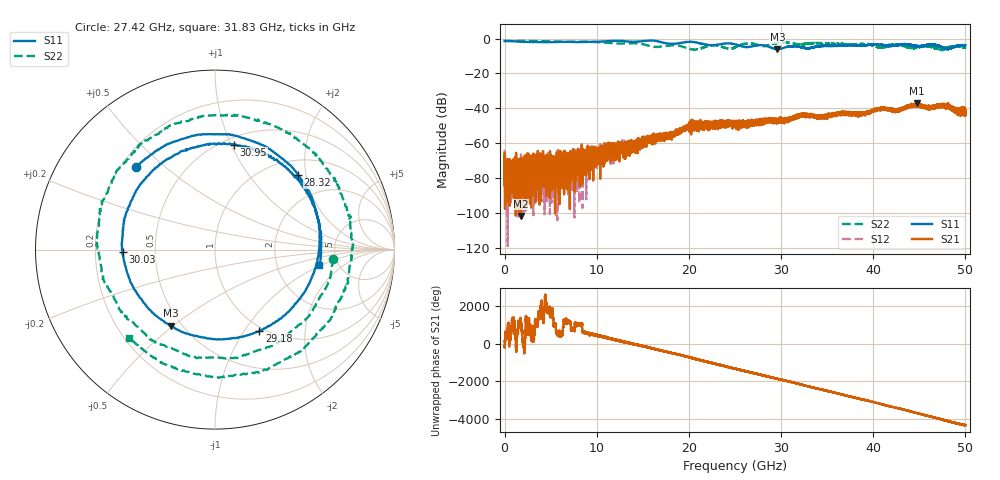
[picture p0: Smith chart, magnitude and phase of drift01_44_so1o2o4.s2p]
!Created with skrf (http://scikit-rf.org).
# Hz S RI R 50.0
!freq ReS11 ImS11 ReS21 ImS21 ReS12 ImS12 ReS22 ImS22
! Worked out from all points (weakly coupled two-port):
!   10001 points, 300 kHz to 50 GHz, reference 50 ohm
!   highest |S21| = -36.96 dB at 44.72 GHz (marker M1); lowest = -101.7 dB at 1.77 GHz (marker M2)
!   lowest |S11| = -6.2 dB at 29.6 GHz (marker M3), VSWR 2.92, Z = 22 - j24.5 ohm
!   |S11| at or under -10 dB: nowhere
!   |S22| runs from -6.7 to -1.4 dB; largest |S21 - S12| = 0.0038
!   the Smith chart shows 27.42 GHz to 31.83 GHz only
!   S11 on the Smith chart (normalised r, x): 27.42 GHz: 0.26, +0.40; 28.32 GHz: 1.33, +1.80; 29.18 GHz: 0.95, -1.17; 30.03 GHz: 0.32, -0.01; 30.95 GHz: 0.57, +1.02; 31.83 GHz: 3.60, -0.92
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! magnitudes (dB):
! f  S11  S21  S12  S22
! 300 kHz  -1.3  -65.8  -63.6  -2.2
! 260.3 MHz  -1.4  -84.7  -101.4  -1.4
! 1.77 GHz  -1.9  -101.7  -66.3  -1.4
! 5.4 GHz  -2.0  -77.5  -77.5  -1.7
! 8.335 GHz  -2.0  -71.9  -68.4  -1.8
! 16.67 GHz  -1.6  -55.6  -56.3  -4.8
! 18.62 GHz  -2.9  -53.0  -54.5  -3.9
! 20.62 GHz  -2.1  -50.4  -50.5  -6.3
! 22.6 GHz  -3.8  -48.0  -49.2  -3.8
! 25 GHz  -3.3  -48.4  -48.6  -5.1
! 27.42 GHz  -3.9  -48.4  -48.3  -3.6
! 28.32 GHz  -4.1  -46.1  -48.2  -4.2
! 29.18 GHz  -5.7  -46.0  -46.9  -3.2
! 29.6 GHz  -6.2  -47.1  -46.6  -2.6
! 30.03 GHz  -5.8  -48.3  -47.0  -2.3
! 30.95 GHz  -4.5  -46.0  -46.5  -2.5
! 31.83 GHz  -4.6  -43.7  -44.4  -3.2
! 33.34 GHz  -5.3  -44.3  -44.7  -2.6
! 41.67 GHz  -4.3  -40.1  -40.8  -4.4
! 44.72 GHz  -4.5  -37.0  -38.3  -5.2
! 47.88 GHz  -5.8  -39.7  -38.7  -5.4
! 50 GHz  -3.8  -43.1  -41.2  -5.4
